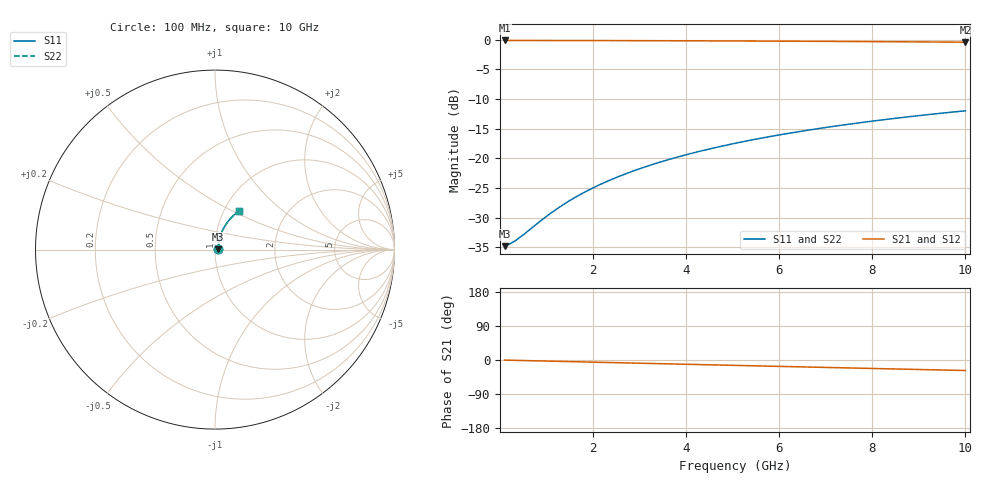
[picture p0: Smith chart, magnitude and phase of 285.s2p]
# Hz S RI R 50.00
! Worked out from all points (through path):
!   100 points, 100 MHz to 10 GHz, reference 50 ohm
!   highest |S21| = -0.16 dB at 100 MHz (marker M1); lowest = -0.5 dB at 10 GHz (marker M2)
!   group delay of S21, straight-line fit = 7.71 ps
!   lowest |S11| = -34.8 dB at 100 MHz (marker M3), VSWR 1.04, Z = 51.8 + j0.267 ohm
!   |S11| at or under -10 dB: start of sweep to end of sweep
!   |S22| runs from -34.8 to -12.0 dB; largest |S21 - S12| = 0
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1e8  0.018 0.00258  0.982 -0.00485  0.982 -0.00485  0.018 0.00258
2e8  0.0182 0.00515  0.9818 -0.00971  0.9818 -0.00971  0.0182 0.00515
3e8  0.0183 0.00772  0.9817 -0.0146  0.9817 -0.0146  0.0183 0.00772
4e8  0.0185 0.0103  0.9815 -0.0194  0.9815 -0.0194  0.0185 0.0103
1e9  0.0198 0.0257  0.9799 -0.0485  0.9799 -0.0485  0.0198 0.0257
1.3e9  0.0208 0.0333  0.9787 -0.0629  0.9787 -0.0629  0.0208 0.0333
1.5e9  0.0216 0.0384  0.9778 -0.0726  0.9778 -0.0726  0.0216 0.0384
1.8e9  0.0229 0.046  0.9762 -0.087  0.9762 -0.087  0.0229 0.046
2.1e9  0.0244 0.0535  0.9744 -0.1014  0.9744 -0.1014  0.0244 0.0535
2.5e9  0.0268 0.0635  0.9715 -0.1204  0.9715 -0.1204  0.0268 0.0635
2.9e9  0.0296 0.0733  0.9681 -0.1394  0.9681 -0.1394  0.0296 0.0733
3.4e9  0.0336 0.0854  0.9633 -0.1629  0.9633 -0.1629  0.0336 0.0854
3.8e9  0.0372 0.095  0.9589 -0.1816  0.9589 -0.1816  0.0372 0.095
4.2e9  0.0412 0.1043  0.9541 -0.2001  0.9541 -0.2001  0.0412 0.1043
4.6e9  0.0455 0.1135  0.9488 -0.2184  0.9488 -0.2184  0.0455 0.1135
5.1e9  0.0514 0.1247  0.9416 -0.241  0.9416 -0.241  0.0514 0.1247
5.9e9  0.0619 0.1418  0.9288 -0.2765  0.9288 -0.2765  0.0619 0.1418
6.7e9  0.0736 0.1581  0.9144 -0.311  0.9144 -0.311  0.0736 0.1581
7.5e9  0.0865 0.1732  0.8985 -0.3445  0.8985 -0.3445  0.0865 0.1732
8.4e9  0.1022 0.1889  0.8789 -0.3808  0.8789 -0.3808  0.1022 0.1889
9.2e9  0.1171 0.2016  0.8602 -0.4118  0.8602 -0.4118  0.1171 0.2016
1e10  0.1327 0.2131  0.8404 -0.4416  0.8404 -0.4416  0.1327 0.2131
